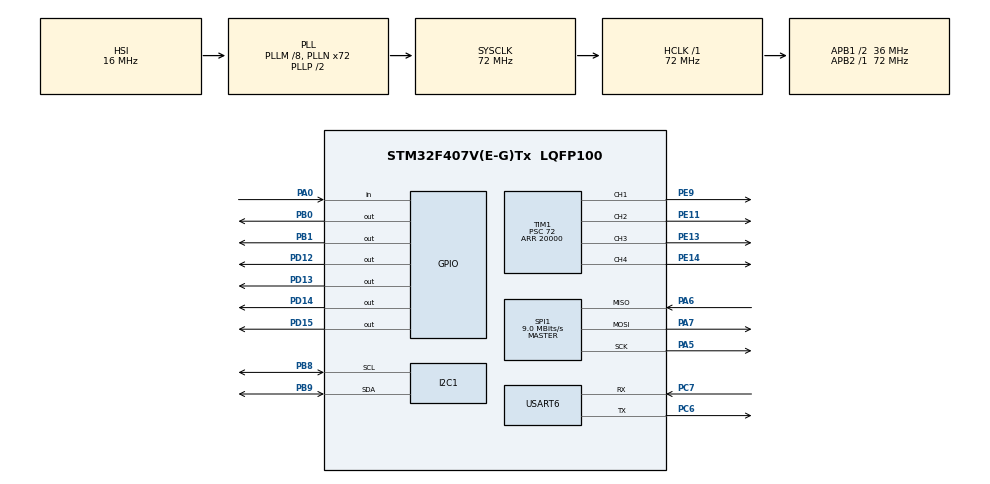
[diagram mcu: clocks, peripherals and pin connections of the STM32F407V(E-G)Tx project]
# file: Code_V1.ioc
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I2C1.I2C_Mode=I2C_Fast
Mcu.Family=STM32F4
Mcu.Name=STM32F407V(E-G)Tx
Mcu.Package=LQFP100
NVIC.PriorityGroup=NVIC_PRIORITYGROUP_4
NVIC.TIM2_IRQn=true\:0\:0\:false\:false\:true\:true\:true\:true
PA0-WKUP.Signal=GPIO_Input
PA13.Mode=Serial_Wire
PA13.Signal=SYS_JTMS-SWDIO
PA14.Mode=Serial_Wire
PA14.Signal=SYS_JTCK-SWCLK
PA5.Mode=Full_Duplex_Master
PA5.Signal=SPI1_SCK
PA6.Mode=Full_Duplex_Master
PA6.Signal=SPI1_MISO
PA7.Mode=Full_Duplex_Master
PA7.Signal=SPI1_MOSI
PB0.Signal=GPIO_Output
PB1.Signal=GPIO_Output
PB8.Mode=I2C
PB8.Signal=I2C1_SCL
PB9.Mode=I2C
PB9.Signal=I2C1_SDA
PC6.Mode=Asynchronous
PC6.Signal=USART6_TX
PC7.Mode=Asynchronous
PC7.Signal=USART6_RX
PD12.Signal=GPIO_Output
PD13.Signal=GPIO_Output
PD14.Signal=GPIO_Output
PD15.Signal=GPIO_Output
PE11.Signal=S_TIM1_CH2
PE13.Signal=S_TIM1_CH3
PE14.Signal=S_TIM1_CH4
PE9.Signal=S_TIM1_CH1
PH0-OSC_IN.Mode=HSE-External-Oscillator
PH0-OSC_IN.Signal=RCC_OSC_IN
PH1-OSC_OUT.Mode=HSE-External-Oscillator
PH1-OSC_OUT.Signal=RCC_OSC_OUT
ProjectManager.HeapSize=0x200
ProjectManager.StackSize=0x400
ProjectManager.TargetToolchain=STM32CubeIDE
RCC.48MHZClocksFreq_Value=36000000
RCC.AHBFreq_Value=72000000
RCC.APB1CLKDivider=RCC_HCLK_DIV2
RCC.APB1Freq_Value=36000000
RCC.APB1TimFreq_Value=72000000
RCC.APB2Freq_Value=72000000
RCC.APB2TimFreq_Value=72000000
RCC.CortexFreq_Value=72000000
RCC.HCLKFreq_Value=72000000
RCC.HSE_VALUE=25000000
RCC.HSI_VALUE=16000000
RCC.LSE_VALUE=32768
RCC.PLLM=8
RCC.PLLN=72
RCC.SYSCLKFreq_VALUE=72000000
RCC.SYSCLKSource=RCC_SYSCLKSOURCE_PLLCLK
RCC.VCOOutputFreq_Value=144000000
SH.S_TIM1_CH1.0=TIM1_CH1,PWM Generation1 CH1
SH.S_TIM1_CH2.0=TIM1_CH2,PWM Generation2 CH2
SH.S_TIM1_CH3.0=TIM1_CH3,PWM Generation3 CH3
SH.S_TIM1_CH4.0=TIM1_CH4,PWM Generation4 CH4
SPI1.BaudRatePrescaler=SPI_BAUDRATEPRESCALER_8
SPI1.CalculateBaudRate=9.0 MBits/s
SPI1.Direction=SPI_DIRECTION_2LINES
SPI1.Mode=SPI_MODE_MASTER
SPI1.VirtualType=VM_MASTER
TIM1.AutoReloadPreload=TIM_AUTORELOAD_PRELOAD_ENABLE
TIM1.Channel-PWM\ Generation1\ CH1=TIM_CHANNEL_1
TIM1.Channel-PWM\ Generation2\ CH2=TIM_CHANNEL_2
TIM1.Channel-PWM\ Generation3\ CH3=TIM_CHANNEL_3
TIM1.Channel-PWM\ Generation4\ CH4=TIM_CHANNEL_4
TIM1.Period=20000
TIM1.Prescaler=72
TIM1.Pulse-PWM\ Generation1\ CH1=955
TIM1.Pulse-PWM\ Generation2\ CH2=955
TIM1.Pulse-PWM\ Generation3\ CH3=955
TIM1.Pulse-PWM\ Generation4\ CH4=955
TIM2.AutoReloadPreload=TIM_AUTORELOAD_PRELOAD_ENABLE
TIM2.Period=72000000
USART6.VirtualMode=VM_ASYNC
VP_TIM1_VS_ClockSourceINT.Mode=Internal
VP_TIM2_VS_ClockSourceINT.Mode=Internal
board=custom

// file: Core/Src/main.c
/* USER CODE BEGIN Header */
/**
 ******************************************************************************
 * @file           : main.c
 * @brief          : Main program body
 ******************************************************************************
 * @attention
 *
 * Copyright (c) 2023 STMicroelectronics.
 * All rights reserved.
 *
 * This software is licensed under terms that can be found in the LICENSE file
 * in the root directory of this software component.
 * If no LICENSE file comes with this software, it is provided AS-IS.
 *
 ******************************************************************************
 */
/* USER CODE END Header */
#include "main.h"

/* USER CODE BEGIN Includes */
#include "code.h"
#include "MY_NRF24.h"
#include <stdio.h>
/* USER CODE END Includes */

/* USER CODE BEGIN PD */
#define SIMPLE_TIME 0.002 //2ms
#define nrf_CSN_PORT GPIOB
#define nrf_CSN_PIN GPIO_PIN_0

#define nrf_CE_PORT GPIOB
#define nrf_CE_PIN GPIO_PIN_1
/* USER CODE END PD */

I2C_HandleTypeDef hi2c1;

SPI_HandleTypeDef hspi1;

TIM_HandleTypeDef htim1;
TIM_HandleTypeDef htim2;

UART_HandleTypeDef huart6;

/* USER CODE BEGIN PV */

int enable = 0;
// Sensor
MPU6050_t MPU6050;
MPU6050_t MPU6050_LP;
MS5611_t MS5611;
// Lowpass
Lowpass_t LP_height = {0};
// Height
double height;
double SetPoint_height = 0;
double Offset_height = 0;
// Quaternions
Quaternion_t Q_est = {1, 0, 0, 0};
// Brushless
Motor_t M1 = {
	.Duty = 0,
	.Duty_base = 979,
	.Duty_min = 800,
	.Duty_max = 1400,
};
Motor_t M2 = {
	.Duty = 0,
	.Duty_base = 955,
	.Duty_min = 800,
	.Duty_max = 1400,
};
Motor_t M3 = {
	.Duty = 0,
	.Duty_base = 955,
	.Duty_min = 800,
	.Duty_max = 1400,
};
Motor_t M4 = {
	.Duty = 0,
	.Duty_base = 955,
	.Duty_min = 800,
	.Duty_max = 1400,
};

// Angle
Euler_t angle = {
	.roll = 0,
	.pitch = 0,
	.yaw = 0,
};
Euler_t Madgwick = {
	.roll = 0,
	.pitch = 0,
	.yaw = 0,
};
Euler_t Setpoint = {
	.roll = 0,
	.pitch = 0,
	.yaw = 0,
};
Euler_t Setpoint_dot = {
	.roll = 0,
	.pitch = 0,
	.yaw = 0,
};
Euler_t Offset = {
	.roll = 1.5,
	.pitch = 0,
	.yaw = 0,
};

uint64_t TxpipeAddrs = 0xAABBCCDDEE;
uint64_t RxpipeAddrs = 0x1122334455;
char TxData[32] = "";
char RxData[32] = "";
uint16_t value;
const float a = 0.0316;
const float b = 1.321;
double x[6];
double K[4][6] = {{ 0, 0, 0, 0, 0, 0}, {a, 0, 0, b, 0, 0}, {0, a, 0, 0, b, 0}, {0, 0, a, 0, 0, b}};
double u[4];
double T1,T2,T3,T4;
double T_base = 1.7*9.81/4;
/* USER CODE END PV */

void SystemClock_Config(void);
static void MX_GPIO_Init(void);
static void MX_I2C1_Init(void);
static void MX_SPI1_Init(void);
static void MX_TIM1_Init(void);
static void MX_TIM2_Init(void);
static void MX_USART6_UART_Init(void);
/* USER CODE BEGIN PFP */
void floatToString(float num, char *target);
/* USER CODE END PFP */

int main(void)
{

	/* MCU Configuration--------------------------------------------------------*/

	/* Reset of all peripherals, Initializes the Flash interface and the Systick. */
	HAL_Init();

	/* Configure the system clock */
	SystemClock_Config();

	/* Initialize all configured peripherals */
	MX_GPIO_Init();
	MX_I2C1_Init();
	MX_SPI1_Init();
	MX_TIM1_Init();
	MX_TIM2_Init();
	MX_USART6_UART_Init();
	/* USER CODE BEGIN 2 */
	char q[10] = "---Tx----";
	char w[10] = "";
	char e[10] = "";
	HAL_UART_Transmit(&huart6, (uint8_t *)q, strlen(q), 10);
	  //Begin setup Rf24
	NRF24_begin(GPIOB, nrf_CSN_PIN, nrf_CE_PIN, hspi1);
	NRF24_stopListening();
	NRF24_openWritingPipe(TxpipeAddrs);
	NRF24_setAutoAck(true);
	NRF24_enableDynamicPayloads();
	NRF24_enableAckPayload();
	// Begin setup GY86
	while (MPU6050_Init(&hi2c1) == 1);
	MPU6050_Bypass(&hi2c1);
	HMC5883L_Init(&hi2c1);
	MPU6050_Master(&hi2c1);
	MPU6050_Addslave(&hi2c1);
	MS5611_init(&hi2c1, &MS5611);
//	 Begin setup ESC
	setupESC(&htim1);
//	 RUN
	HAL_TIM_Base_Start_IT(&htim2);
	/* USER CODE END 2 */

	/* Infinite loop */
	while (1)
	{
		if(HAL_GetTick() - value >= 20)
		{
			value = HAL_GetTick();
			floatToString(Madgwick.roll,q);
			floatToString(Madgwick.pitch,w);;
			floatToString(Madgwick.yaw,e);

			sprintf(TxData,"%s;%s;%s;%d;",q,w,e,enable);
			if (NRF24_write(TxData, 32))
			{
			//Receive
			NRF24_read(RxData, 32);
			if(RxData[0]=='1') enable = 1;
			if(RxData[0]=='0') enable = 0;
//			HAL_UART_Transmit(&huart6, (uint8_t*) "Send: ",strlen("Send: "), 10);
//			HAL_UART_Transmit(&huart6, (uint8_t*) TxData,strlen(TxData), 10);
//
//			HAL_UART_Transmit(&huart6, (uint8_t*) "		", strlen("		"),10);
//
//			HAL_UART_Transmit(&huart6, (uint8_t*) "Receive: ",strlen("Receive: "), 10);
//			HAL_UART_Transmit(&huart6, (uint8_t*) RxData,strlen(RxData), 10);
//
//			HAL_UART_Transmit(&huart6, (uint8_t*) "\r\n", strlen("\r\n"),10);
			}
		}
//		if(HAL_GetTick() - value > 1000) enable = 0;

	}
}

void SystemClock_Config(void)
{
	RCC_OscInitTypeDef RCC_OscInitStruct = {0};
	RCC_ClkInitTypeDef RCC_ClkInitStruct = {0};

	/** Configure the main internal regulator output voltage
	 */
	__HAL_RCC_PWR_CLK_ENABLE();
	__HAL_PWR_VOLTAGESCALING_CONFIG(PWR_REGULATOR_VOLTAGE_SCALE1);

	/** Initializes the RCC Oscillators according to the specified parameters
	 * in the RCC_OscInitTypeDef structure.
	 */
	RCC_OscInitStruct.OscillatorType = RCC_OSCILLATORTYPE_HSI;
	RCC_OscInitStruct.HSIState = RCC_HSI_ON;
	RCC_OscInitStruct.HSICalibrationValue = RCC_HSICALIBRATION_DEFAULT;
	RCC_OscInitStruct.PLL.PLLState = RCC_PLL_ON;
	RCC_OscInitStruct.PLL.PLLSource = RCC_PLLSOURCE_HSI;
	RCC_OscInitStruct.PLL.PLLM = 8;
	RCC_OscInitStruct.PLL.PLLN = 72;
	RCC_OscInitStruct.PLL.PLLP = RCC_PLLP_DIV2;
	RCC_OscInitStruct.PLL.PLLQ = 4;
	if (HAL_RCC_OscConfig(&RCC_OscInitStruct) != HAL_OK)
	{
		Error_Handler();
	}

	/** Initializes the CPU, AHB and APB buses clocks
	 */
	RCC_ClkInitStruct.ClockType = RCC_CLOCKTYPE_HCLK | RCC_CLOCKTYPE_SYSCLK | RCC_CLOCKTYPE_PCLK1 | RCC_CLOCKTYPE_PCLK2;
	RCC_ClkInitStruct.SYSCLKSource = RCC_SYSCLKSOURCE_PLLCLK;
	RCC_ClkInitStruct.AHBCLKDivider = RCC_SYSCLK_DIV1;
	RCC_ClkInitStruct.APB1CLKDivider = RCC_HCLK_DIV2;
	RCC_ClkInitStruct.APB2CLKDivider = RCC_HCLK_DIV1;

	if (HAL_RCC_ClockConfig(&RCC_ClkInitStruct, FLASH_LATENCY_2) != HAL_OK)
	{
		Error_Handler();
	}
}

static void MX_I2C1_Init(void)
{

	hi2c1.Instance = I2C1;
	hi2c1.Init.ClockSpeed = 400000;
	hi2c1.Init.DutyCycle = I2C_DUTYCYCLE_2;
	hi2c1.Init.OwnAddress1 = 0;
	hi2c1.Init.AddressingMode = I2C_ADDRESSINGMODE_7BIT;
	hi2c1.Init.DualAddressMode = I2C_DUALADDRESS_DISABLE;
	hi2c1.Init.OwnAddress2 = 0;
	hi2c1.Init.GeneralCallMode = I2C_GENERALCALL_DISABLE;
	hi2c1.Init.NoStretchMode = I2C_NOSTRETCH_DISABLE;
	if (HAL_I2C_Init(&hi2c1) != HAL_OK)
	{
		Error_Handler();
	}
}

static void MX_SPI1_Init(void)
{

	/* SPI1 parameter configuration*/
	hspi1.Instance = SPI1;
	hspi1.Init.Mode = SPI_MODE_MASTER;
	hspi1.Init.Direction = SPI_DIRECTION_2LINES;
	hspi1.Init.DataSize = SPI_DATASIZE_8BIT;
	hspi1.Init.CLKPolarity = SPI_POLARITY_LOW;
	hspi1.Init.CLKPhase = SPI_PHASE_1EDGE;
	hspi1.Init.NSS = SPI_NSS_SOFT;
	hspi1.Init.BaudRatePrescaler = SPI_BAUDRATEPRESCALER_8;
	hspi1.Init.FirstBit = SPI_FIRSTBIT_MSB;
	hspi1.Init.TIMode = SPI_TIMODE_DISABLE;
	hspi1.Init.CRCCalculation = SPI_CRCCALCULATION_DISABLE;
	hspi1.Init.CRCPolynomial = 10;
	if (HAL_SPI_Init(&hspi1) != HAL_OK)
	{
		Error_Handler();
	}
}

static void MX_TIM1_Init(void)
{

	TIM_ClockConfigTypeDef sClockSourceConfig = {0};
	TIM_MasterConfigTypeDef sMasterConfig = {0};
	TIM_OC_InitTypeDef sConfigOC = {0};
	TIM_BreakDeadTimeConfigTypeDef sBreakDeadTimeConfig = {0};

	htim1.Instance = TIM1;
	htim1.Init.Prescaler = 72;
	htim1.Init.CounterMode = TIM_COUNTERMODE_UP;
	htim1.Init.Period = 20000;
	htim1.Init.ClockDivision = TIM_CLOCKDIVISION_DIV1;
	htim1.Init.RepetitionCounter = 0;
	htim1.Init.AutoReloadPreload = TIM_AUTORELOAD_PRELOAD_ENABLE;
	if (HAL_TIM_Base_Init(&htim1) != HAL_OK)
	{
		Error_Handler();
	}
	sClockSourceConfig.ClockSource = TIM_CLOCKSOURCE_INTERNAL;
	if (HAL_TIM_ConfigClockSource(&htim1, &sClockSourceConfig) != HAL_OK)
	{
		Error_Handler();
	}
	if (HAL_TIM_PWM_Init(&htim1) != HAL_OK)
	{
		Error_Handler();
	}
	sMasterConfig.MasterOutputTrigger = TIM_TRGO_RESET;
	sMasterConfig.MasterSlaveMode = TIM_MASTERSLAVEMODE_DISABLE;
	if (HAL_TIMEx_MasterConfigSynchronization(&htim1, &sMasterConfig) != HAL_OK)
	{
		Error_Handler();
	}
	sConfigOC.OCMode = TIM_OCMODE_PWM1;
	sConfigOC.Pulse = 955;
	sConfigOC.OCPolarity = TIM_OCPOLARITY_HIGH;
	sConfigOC.OCNPolarity = TIM_OCNPOLARITY_HIGH;
	sConfigOC.OCFastMode = TIM_OCFAST_DISABLE;
	sConfigOC.OCIdleState = TIM_OCIDLESTATE_RESET;
	sConfigOC.OCNIdleState = TIM_OCNIDLESTATE_RESET;
	if (HAL_TIM_PWM_ConfigChannel(&htim1, &sConfigOC, TIM_CHANNEL_1) != HAL_OK)
	{
		Error_Handler();
	}
	if (HAL_TIM_PWM_ConfigChannel(&htim1, &sConfigOC, TIM_CHANNEL_2) != HAL_OK)
	{
		Error_Handler();
	}
	if (HAL_TIM_PWM_ConfigChannel(&htim1, &sConfigOC, TIM_CHANNEL_3) != HAL_OK)
	{
		Error_Handler();
	}
	if (HAL_TIM_PWM_ConfigChannel(&htim1, &sConfigOC, TIM_CHANNEL_4) != HAL_OK)
	{
		Error_Handler();
	}
	sBreakDeadTimeConfig.OffStateRunMode = TIM_OSSR_DISABLE;
	sBreakDeadTimeConfig.OffStateIDLEMode = TIM_OSSI_DISABLE;
	sBreakDeadTimeConfig.LockLevel = TIM_LOCKLEVEL_OFF;
	sBreakDeadTimeConfig.DeadTime = 0;
	sBreakDeadTimeConfig.BreakState = TIM_BREAK_DISABLE;
	sBreakDeadTimeConfig.BreakPolarity = TIM_BREAKPOLARITY_HIGH;
	sBreakDeadTimeConfig.AutomaticOutput = TIM_AUTOMATICOUTPUT_DISABLE;
	if (HAL_TIMEx_ConfigBreakDeadTime(&htim1, &sBreakDeadTimeConfig) != HAL_OK)
	{
		Error_Handler();
	}
	HAL_TIM_MspPostInit(&htim1);
}

static void MX_TIM2_Init(void)
{

	TIM_ClockConfigTypeDef sClockSourceConfig = {0};
	TIM_MasterConfigTypeDef sMasterConfig = {0};

	htim2.Instance = TIM2;
	htim2.Init.Prescaler = 0;
	htim2.Init.CounterMode = TIM_COUNTERMODE_UP;
	htim2.Init.Period = 72000000*SIMPLE_TIME;
	htim2.Init.ClockDivision = TIM_CLOCKDIVISION_DIV1;
	htim2.Init.AutoReloadPreload = TIM_AUTORELOAD_PRELOAD_DISABLE;
	if (HAL_TIM_Base_Init(&htim2) != HAL_OK)
	{
		Error_Handler();
	}
	sClockSourceConfig.ClockSource = TIM_CLOCKSOURCE_INTERNAL;
	if (HAL_TIM_ConfigClockSource(&htim2, &sClockSourceConfig) != HAL_OK)
	{
		Error_Handler();
	}
	sMasterConfig.MasterOutputTrigger = TIM_TRGO_RESET;
	sMasterConfig.MasterSlaveMode = TIM_MASTERSLAVEMODE_DISABLE;
	if (HAL_TIMEx_MasterConfigSynchronization(&htim2, &sMasterConfig) != HAL_OK)
	{
		Error_Handler();
	}
}

static void MX_USART6_UART_Init(void)
{

	huart6.Instance = USART6;
	huart6.Init.BaudRate = 115200;
	huart6.Init.WordLength = UART_WORDLENGTH_8B;
	huart6.Init.StopBits = UART_STOPBITS_1;
	huart6.Init.Parity = UART_PARITY_NONE;
	huart6.Init.Mode = UART_MODE_TX_RX;
	huart6.Init.HwFlowCtl = UART_HWCONTROL_NONE;
	huart6.Init.OverSampling = UART_OVERSAMPLING_16;
	if (HAL_UART_Init(&huart6) != HAL_OK)
	{
		Error_Handler();
	}
}

static void MX_GPIO_Init(void)
{
	GPIO_InitTypeDef GPIO_InitStruct = {0};

	/* GPIO Ports Clock Enable */
	__HAL_RCC_GPIOH_CLK_ENABLE();
	__HAL_RCC_GPIOA_CLK_ENABLE();
	__HAL_RCC_GPIOB_CLK_ENABLE();
	__HAL_RCC_GPIOE_CLK_ENABLE();
	__HAL_RCC_GPIOD_CLK_ENABLE();
	__HAL_RCC_GPIOC_CLK_ENABLE();

	/*Configure GPIO pin Output Level */
	HAL_GPIO_WritePin(GPIOB, GPIO_PIN_0 | GPIO_PIN_1, GPIO_PIN_RESET);

	/*Configure GPIO pin Output Level */
	HAL_GPIO_WritePin(GPIOD,GPIO_PIN_12 | GPIO_PIN_13 | GPIO_PIN_14 | GPIO_PIN_15,GPIO_PIN_RESET);

	/*Configure GPIO pin : PA0 */
	GPIO_InitStruct.Pin = GPIO_PIN_0;
	GPIO_InitStruct.Mode = GPIO_MODE_INPUT;
	GPIO_InitStruct.Pull = GPIO_NOPULL;
	HAL_GPIO_Init(GPIOA, &GPIO_InitStruct);

	/*Configure GPIO pins : PB0 PB1 */
	GPIO_InitStruct.Pin = GPIO_PIN_0 | GPIO_PIN_1;
	GPIO_InitStruct.Mode = GPIO_MODE_OUTPUT_PP;
	GPIO_InitStruct.Pull = GPIO_NOPULL;
	GPIO_InitStruct.Speed = GPIO_SPEED_FREQ_LOW;
	HAL_GPIO_Init(GPIOB, &GPIO_InitStruct);

	/*Configure GPIO pins : PD12 PD13 PD14 PD15 */
	GPIO_InitStruct.Pin = GPIO_PIN_12 | GPIO_PIN_13 | GPIO_PIN_14 | GPIO_PIN_15;
	GPIO_InitStruct.Mode = GPIO_MODE_OUTPUT_PP;
	GPIO_InitStruct.Pull = GPIO_NOPULL;
	GPIO_InitStruct.Speed = GPIO_SPEED_FREQ_LOW;
	HAL_GPIO_Init(GPIOD, &GPIO_InitStruct);

}

/* USER CODE BEGIN 4 */

// Hàm chuyển float sang string
void floatToString(float num, char *target) {
  int intPart = (int)num; // phần nguyên của số float
  float fracPart = num - intPart; // phần thập phân của số float
  char intStr[5]; // chuỗi chứa phần nguyên
  char fracStr[5]; // chuỗi chứa phần thập phân
  sprintf(intStr,"%d", intPart); // gọi hàm chuyển phần nguyên sang string
  sprintf(fracStr,"%d",(int16_t)(fracPart*10000)); // gọi hàm chuyển phần thập phân sang string với độ chính xác là 6 chữ số sau dấu phẩy
  sprintf(target, "%s.%s", intStr, fracStr); // nối hai chuỗi lại với nhau và thêm dấu chấm vào giữa
}

void HAL_TIM_PeriodElapsedCallback(TIM_HandleTypeDef *htim)
{
	if (htim->Instance == htim2.Instance)
	{
		// Read Data
		HAL_GPIO_TogglePin(GPIOD, GPIO_PIN_12);
		MPU6050_Read_All(&hi2c1, &MPU6050);
		MS5611_calculate(&hi2c1, &MS5611);
		// Filter
		Lowpass4MPU(MPU6050, &MPU6050_LP);
		Lowpass(MS5611.P, &LP_height, 0.5);
		MPU2Angle(MPU6050_LP, &angle);
		Madgwick_imu(&MPU6050_LP, &Q_est);
		// Caculator

		Quat2Angle(Q_est, &Madgwick);
		OffsetAngle(&Madgwick, Offset);
		height = getAltitude(LP_height.out, 101325);
		// r()
		x[0] = Setpoint.roll 	- Madgwick.roll;
		x[1] = Setpoint.pitch 	- Madgwick.pitch;
		x[2] = Setpoint.yaw 	- Madgwick.yaw;
		x[3] = Setpoint_dot.roll 	- MPU6050.Gx;
		x[4] = Setpoint_dot.pitch 	- MPU6050.Gy;
		x[5] = Setpoint_dot.yaw 	- MPU6050.Gz;
		//
//		x[0] = 0;
//		x[1] = 0;
		x[2] = 0;
//		x[3] = 0;
//		x[4] = 0;
		x[5] = 0;

		//LQR
		compute_control(x, K, u);
		//Limit
		if(u[0] > 8.7969) u[0] = 8.7969;
		if(u[0] < -16.677)u[0] = -16.677;
		if(u[1] > 11.5) u[1] = 11.5;
		if(u[1] < -11.5)u[1] = -11.5;
		if(u[2] > 11.5) u[2] = 11.5;
		if(u[2] < -11.5)u[2] = -11.5;
		if(u[3] > 11.5) u[3] = 11.5;
		if(u[3] < -11.5)u[3] = -11.5;
		u[1] = u[1]*0.3;
		u[2] = u[2]*0.3;
		u[3] = u[3]*0.1;

		//U -> T
		T1 = T_base + u[0]*0.25 + u[3]*0.25 - u[2]*0.5; // T = Khối lượng/4 + độ cao + yaw - pitch;
		T2 = T_base + u[0]*0.25 - u[3]*0.25 + u[1]*0.5; // T = Khối lượng/4 + độ cao - yaw + sin;
		T3 = T_base + u[0]*0.25 - u[3]*0.25 + u[2]*0.5; // T = Khối lượng/4 + độ cao - yaw + pitch;
		T4 = T_base + u[0]*0.25 - u[3]*0.25 - u[1]*0.5; // T = Khối lượng/4 + độ cao - yaw - sin;

		//T -> Duty
		M1.Duty = T1/11.5*1000;
		M2.Duty = T2/11.5*1000;
		M3.Duty = T3/11.5*1000;
		M4.Duty = T4/11.5*1000;

		// Enable output PID
		if (enable)
		{
			ESC_Control(&htim1, M1.Duty + M1.Duty_base, M2.Duty + M2.Duty_base,M3.Duty + M3.Duty_base, M4.Duty + M4.Duty_base); // Duty + Duty_base
		}
		else
		{
			ESC_Control(&htim1, M1.Duty_min, M2.Duty_min, M3.Duty_min,M4.Duty_min); // Duty_min
		}

	}
}
/* USER CODE END 4 */

void Error_Handler(void)
{
	__disable_irq();
	while (1)
	{
	}
}
